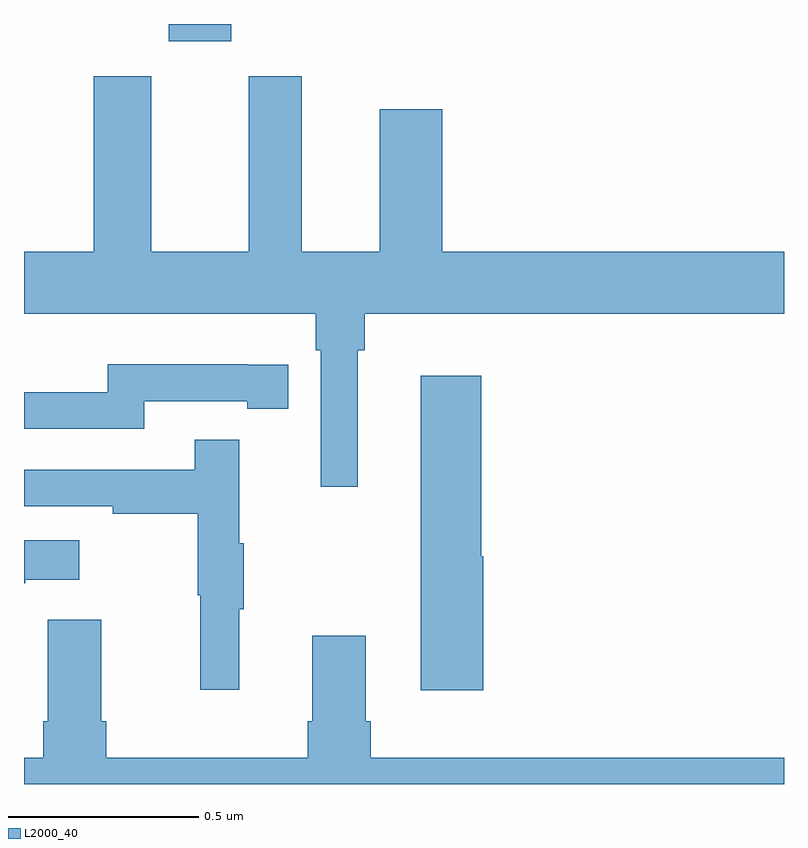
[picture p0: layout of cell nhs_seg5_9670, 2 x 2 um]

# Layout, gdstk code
import gdstk
lib = gdstk.Library(unit=1e-6, precision=1e-09)
def R(c, l, rs):  # rectangles x0, y0, x1, y1
    for r in rs: c.add(gdstk.rectangle(r[:2], r[2:], *l))
def P(c, l, *ps):  # polygons
    for p in ps: c.add(gdstk.Polygon(p, *l))
L2000_40 = (2000, 40)

nhs_seg5_9670 = lib.new_cell('nhs_seg5_9670')
R(nhs_seg5_9670, L2000_40, [(236.381,914.754,236.545,914.799)])
P(nhs_seg5_9670, L2000_40, [(236.878,913.94),(236.897,913.94),(236.897,914.036),(238,914.036),(238,914.2),(237.1,914.2),(237.1,914.575),(236.936,914.575),(236.936,914.2),(236.731,914.2),(236.731,914.662),(236.591,914.662),(236.591,914.2),(236.335,914.2),(236.335,914.662),(236.183,914.662),(236.183,914.2),(236,914.2),(236,914.036),(236.768,914.036),(236.768,913.94),(236.781,913.94),(236.781,913.581),(236.878,913.581)],
  [(236.316,913.806),(236.588,913.806),(236.588,913.786),(236.696,913.786),(236.696,913.902),(236.588,913.902),(236.588,913.903),(236.22,913.903),(236.22,913.83),(236,913.83),(236,913.734),(236.316,913.734)],
  [(237.208,913.398),(237.203,913.398),(237.203,913.873),(237.044,913.873),(237.044,913.046),(237.208,913.046)],
  [(236.567,913.259),(236.578,913.259),(236.578,913.433),(236.567,913.433),(236.567,913.705),(236.449,913.705),(236.449,913.626),(236,913.626),(236,913.53),(236.233,913.53),(236.233,913.51),(236.457,913.51),(236.457,913.296),(236.464,913.296),(236.464,913.047),(236.567,913.047)],
  [(236.003,913.337),(236.146,913.337),(236.146,913.441),(236,913.441),(236,913.327),(236.003,913.327)],
  [(238,912.868),(236.912,912.868),(236.912,912.964),(236.899,912.964),(236.899,913.189),(236.759,913.189),(236.759,912.964),(236.747,912.964),(236.747,912.868),(236.216,912.868),(236.216,912.964),(236.203,912.964),(236.203,913.231),(236.063,913.231),(236.063,912.964),(236.051,912.964),(236.051,912.868),(236,912.868),(236,912.799),(238,912.799)])

lib.write_gds('nhs_seg5_9670.gds')
